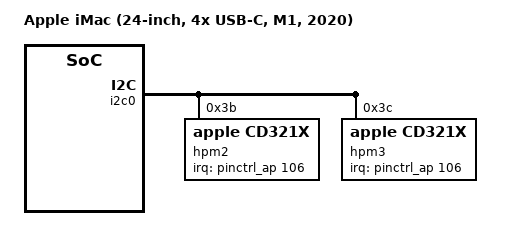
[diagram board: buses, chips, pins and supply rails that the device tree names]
// SPDX-License-Identifier: GPL-2.0+ OR MIT
/*
 * Apple iMac (24-inch, 4x USB-C, M1, 2020)
 *
 * target-type: J456
 *
 * Copyright The Asahi Linux Contributors
 */

/dts-v1/;

#include "t8103.dtsi"
#include "t8103-jxxx.dtsi"

/ {
	compatible = "apple,j456", "apple,t8103", "apple,arm-platform";
	model = "Apple iMac (24-inch, 4x USB-C, M1, 2020)";

	aliases {
		ethernet0 = &ethernet0;
	};
};

&i2c0 {
	hpm2: usb-pd@3b {
		compatible = "apple,cd321x";
		reg = <0x3b>;
		interrupt-parent = <&pinctrl_ap>;
		interrupts = <106 IRQ_TYPE_LEVEL_LOW>;
		interrupt-names = "irq";
	};

	hpm3: usb-pd@3c {
		compatible = "apple,cd321x";
		reg = <0x3c>;
		interrupt-parent = <&pinctrl_ap>;
		interrupts = <106 IRQ_TYPE_LEVEL_LOW>;
		interrupt-names = "irq";
	};
};

/*
 * Force the bus number assignments so that we can declare some of the
 * on-board devices and properties that are populated by the bootloader
 * (such as MAC addresses).
 */

&port01 {
	bus-range = <2 2>;
};

&port02 {
	bus-range = <3 3>;
	ethernet0: ethernet@0,0 {
		reg = <0x30000 0x0 0x0 0x0 0x0>;
		/* To be filled by the loader */
		local-mac-address = [00 10 18 00 00 00];
	};
};
